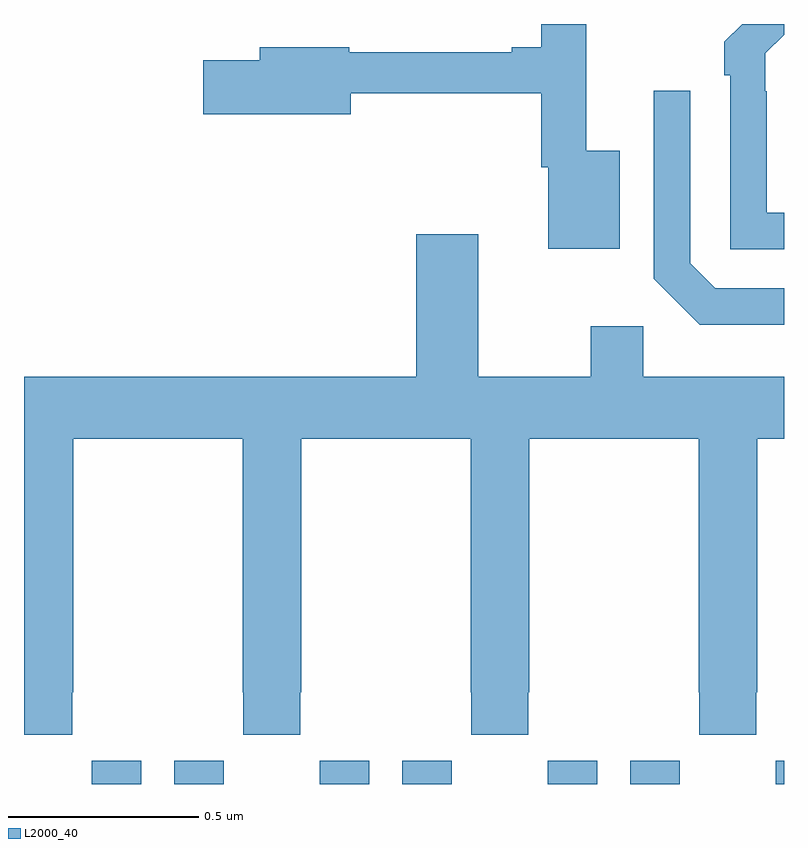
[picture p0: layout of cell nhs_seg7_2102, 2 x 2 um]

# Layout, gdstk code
import gdstk
lib = gdstk.Library(unit=1e-6, precision=1e-09)
def R(c, l, rs):  # rectangles x0, y0, x1, y1
    for r in rs: c.add(gdstk.rectangle(r[:2], r[2:], *l))
def P(c, l, *ps):  # polygons
    for p in ps: c.add(gdstk.Polygon(p, *l))
L2000_40 = (2000, 40)

nhs_seg7_2102 = lib.new_cell('nhs_seg7_2102')
R(nhs_seg7_2102, L2000_40, [(140.178,1041,140.308,1041.061), (140.396,1041,140.526,1041.061), (140.778,1041,140.908,1041.061), (140.996,1041,141.126,1041.061), (141.378,1041,141.508,1041.061), (141.596,1041,141.726,1041.061), (141.978,1041,142,1041.061)])
P(nhs_seg7_2102, L2000_40, [(141.568,1042.666),(141.479,1042.666),(141.479,1043),(141.361,1043),(141.361,1042.939),(141.284,1042.939),(141.284,1042.926),(140.856,1042.926),(140.856,1042.939),(140.621,1042.939),(140.621,1042.905),(140.472,1042.905),(140.472,1042.763),(140.86,1042.763),(140.86,1042.818),(141.361,1042.818),(141.361,1042.623),(141.38,1042.623),(141.38,1042.409),(141.568,1042.409)],
  [(142,1042.503),(141.954,1042.503),(141.954,1042.823),(141.951,1042.823),(141.951,1042.923),(142,1042.972),(142,1043),(141.89,1043),(141.843,1042.953),(141.843,1042.865),(141.858,1042.865),(141.858,1042.407),(142,1042.407)],
  [(142,1042.305),(141.819,1042.305),(141.753,1042.371),(141.753,1042.825),(141.657,1042.825),(141.657,1042.329),(141.778,1042.208),(142,1042.208)],
  [(140.127,1041.241),(140.13,1041.241),(140.13,1041.908),(140.575,1041.908),(140.575,1041.241),(140.577,1041.241),(140.577,1041.129),(140.727,1041.129),(140.727,1041.241),(140.73,1041.241),(140.73,1041.908),(141.175,1041.908),(141.175,1041.241),(141.177,1041.241),(141.177,1041.129),(141.327,1041.129),(141.327,1041.241),(141.33,1041.241),(141.33,1041.908),(141.775,1041.908),(141.775,1041.241),(141.777,1041.241),(141.777,1041.129),(141.927,1041.129),(141.927,1041.241),(141.93,1041.241),(141.93,1041.908),(142,1041.908),(142,1042.072),(141.63,1042.072),(141.63,1042.204),(141.491,1042.204),(141.491,1042.072),(141.196,1042.072),(141.196,1042.447),(141.032,1042.447),(141.032,1042.072),(140,1042.072),(140,1041.129),(140.127,1041.129)])

lib.write_gds('nhs_seg7_2102.gds')
